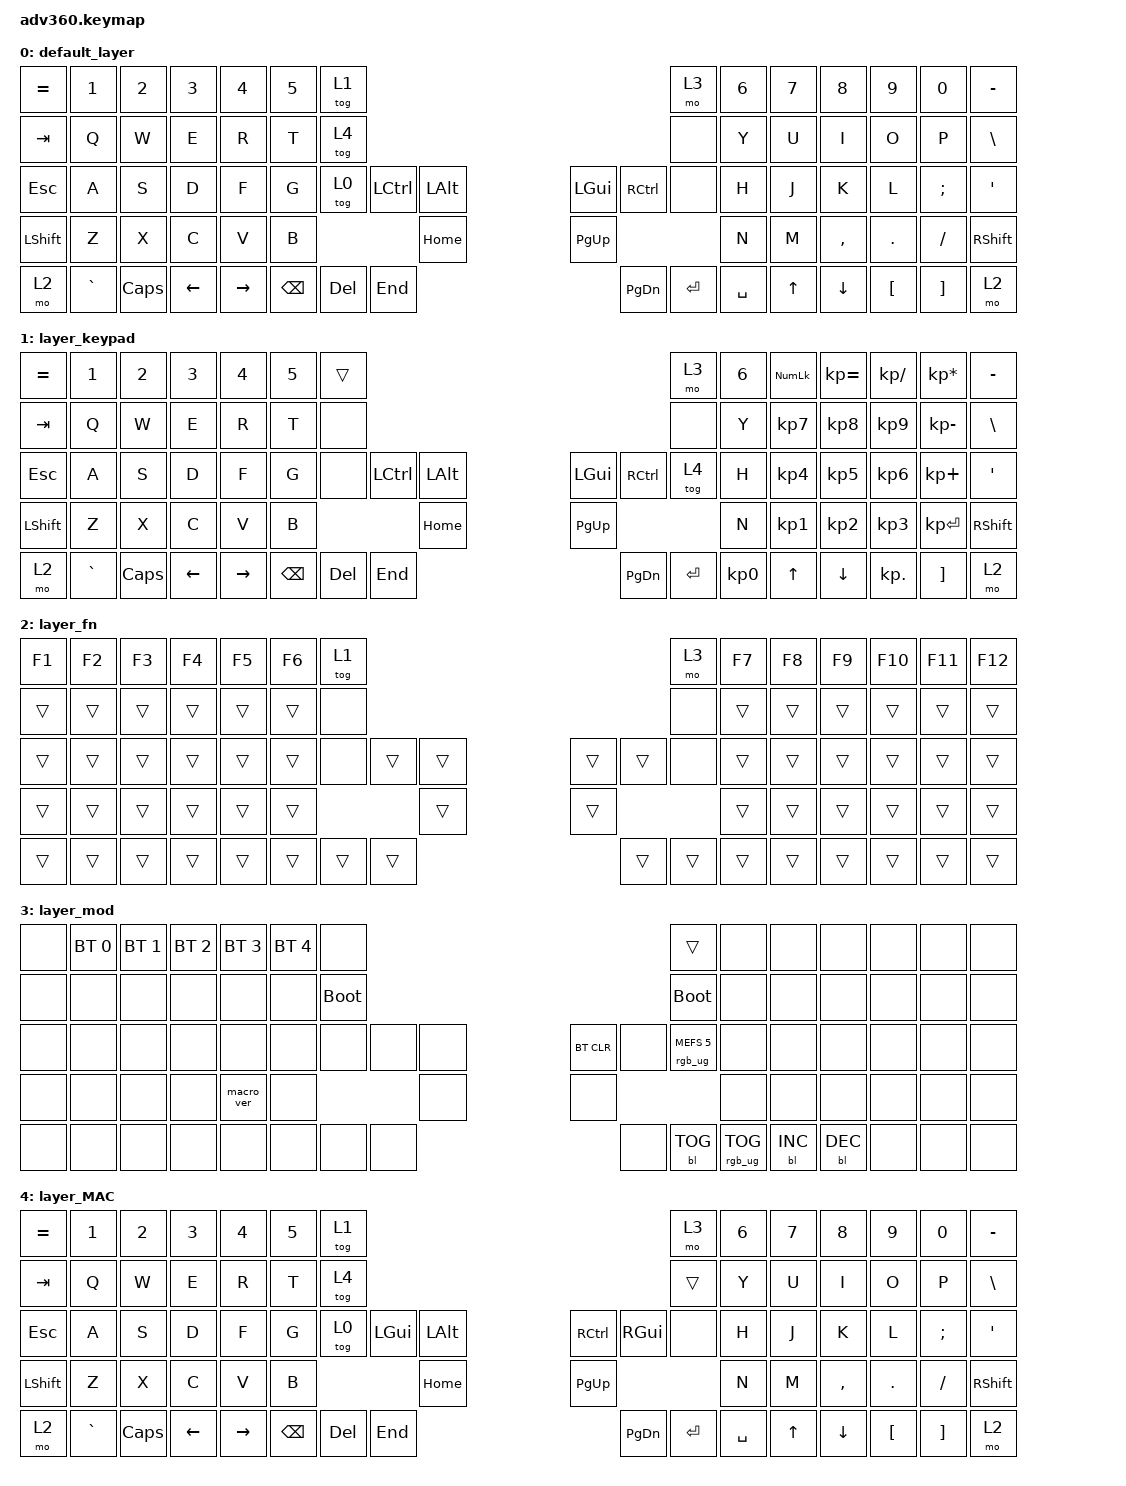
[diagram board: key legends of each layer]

/*
 * Copyright (c) 2020 The ZMK Contributors
 *
 * SPDX-License-Identifier: MIT
 */


/* THIS FILE WAS GENERATED!
 *
 * This file was generated automatically. You may or may not want to
 * edit it directly.
 */

#include <behaviors.dtsi>
#include <dt-bindings/zmk/keys.h>
#include <dt-bindings/zmk/bt.h>
#include <dt-bindings/zmk/rgb.h>
#include <dt-bindings/zmk/backlight.h>

/ {
  behaviors {
    #include "macros.dtsi"
    #include "version.dtsi"

    hm: homerow_mods {
        compatible = "zmk,behavior-hold-tap";
        label = "HOMEROW_MODS";
        #binding-cells = <2>;
        tapping-term-ms = <200>;
        quick_tap_ms = <175>;
        flavor = "tap-preferred";
        bindings = <&kp>, <&kp>;
    };
  };

    keymap {
        compatible = "zmk,keymap";


        default_layer {
            bindings = <
 &kp EQUAL     &kp N1    &kp N2    &kp N3     &kp N4  &kp N5              &tog 1                                                                 &mo 3  &kp N6  &kp N7     &kp N8    &kp N9    &kp N0  &kp MINUS
   &kp TAB      &kp Q     &kp W     &kp E      &kp R   &kp T              &tog 4                                                                 &none   &kp Y   &kp U      &kp I     &kp O     &kp P   &kp BSLH
   &kp ESC      &kp A     &kp S     &kp D      &kp F   &kp G              &tog 0  &kp LCTRL  &kp LALT                   &kp LGUI  &kp RCTRL      &none   &kp H   &kp J      &kp K     &kp L  &kp SEMI    &kp SQT
 &kp LSHFT      &kp Z     &kp X     &kp C      &kp V   &kp B                                 &kp HOME                  &kp PG_UP                         &kp N   &kp M  &kp COMMA   &kp DOT  &kp FSLH  &kp RSHFT
     &mo 2  &kp GRAVE  &kp CAPS  &kp LEFT  &kp RIGHT                    &kp BSPC    &kp DEL   &kp END                  &kp PG_DN  &kp ENTER  &kp SPACE          &kp UP   &kp DOWN  &kp LBKT  &kp RBKT      &mo 2
            >;
        };

        layer_keypad {
            bindings = <
 &kp EQUAL     &kp N1    &kp N2    &kp N3     &kp N4  &kp N5              &trans                                                                 &mo 3  &kp N6  &kp KP_NUM  &kp KP_EQUAL  &kp KP_DIVIDE  &kp KP_MULTIPLY  &kp MINUS
   &kp TAB      &kp Q     &kp W     &kp E      &kp R   &kp T               &none                                                                 &none   &kp Y   &kp KP_N7     &kp KP_N8      &kp KP_N9     &kp KP_MINUS   &kp BSLH
   &kp ESC      &kp A     &kp S     &kp D      &kp F   &kp G               &none  &kp LCTRL  &kp LALT                   &kp LGUI  &kp RCTRL     &tog 4   &kp H   &kp KP_N4     &kp KP_N5      &kp KP_N6      &kp KP_PLUS    &kp SQT
 &kp LSHFT      &kp Z     &kp X     &kp C      &kp V   &kp B                                 &kp HOME                  &kp PG_UP                         &kp N   &kp KP_N1     &kp KP_N2      &kp KP_N3     &kp KP_ENTER  &kp RSHFT
     &mo 2  &kp GRAVE  &kp CAPS  &kp LEFT  &kp RIGHT                    &kp BSPC    &kp DEL   &kp END                  &kp PG_DN  &kp ENTER  &kp KP_N0              &kp UP      &kp DOWN     &kp KP_DOT         &kp RBKT      &mo 2
            >;
        };

        layer_fn {
            bindings = <
 &kp F1  &kp F2  &kp F3  &kp F4  &kp F5  &kp F6            &tog 1                                                   &mo 3  &kp F7  &kp F8  &kp F9  &kp F10  &kp F11  &kp F12
 &trans  &trans  &trans  &trans  &trans  &trans             &none                                                   &none  &trans  &trans  &trans   &trans   &trans   &trans
 &trans  &trans  &trans  &trans  &trans  &trans             &none  &trans  &trans                  &trans  &trans   &none  &trans  &trans  &trans   &trans   &trans   &trans
 &trans  &trans  &trans  &trans  &trans  &trans                            &trans                  &trans                  &trans  &trans  &trans   &trans   &trans   &trans
 &trans  &trans  &trans  &trans  &trans                    &trans  &trans  &trans                  &trans  &trans  &trans          &trans  &trans   &trans   &trans   &trans
            >;
        };

        layer_mod {
            bindings = <
  &none  &bt BT_SEL 0  &bt BT_SEL 1  &bt BT_SEL 2  &bt BT_SEL 3  &bt BT_SEL 4                  &none                                                                          &trans   &none       &none       &none   &none   &none   &none
  &none         &none         &none         &none         &none         &none            &bootloader                                                                     &bootloader   &none       &none       &none   &none   &none   &none
  &none         &none         &none         &none         &none         &none                  &none   &none   &none                  &bt BT_CLR       &none  &rgb_ug RGB_MEFS_CMD 5   &none       &none       &none   &none   &none   &none
  &none         &none         &none         &none    &macro_ver         &none                                  &none                       &none                                       &none       &none       &none   &none   &none   &none
  &none         &none         &none         &none         &none                                &none   &none   &none                       &none  &bl BL_TOG         &rgb_ug RGB_TOG          &bl BL_INC  &bl BL_DEC   &none   &none   &none
            >;
        };

        layer_MAC {
            bindings = <
      &kp EQUAL  &kp NUMBER_1  &kp NUMBER_2    &kp NUMBER_3     &kp NUMBER_4  &kp NUMBER_5              &tog 1                                                                        &mo 3  &kp NUMBER_6  &kp NUMBER_7    &kp NUMBER_8      &kp NUMBER_9       &kp NUMBER_0         &kp MINUS
        &kp TAB         &kp Q         &kp W           &kp E            &kp R         &kp T              &tog 4                                                                       &trans         &kp Y         &kp U           &kp I             &kp O              &kp P     &kp BACKSLASH
        &kp ESC         &kp A         &kp S           &kp D            &kp F         &kp G              &tog 0  &kp LGUI  &kp LALT                  &kp RIGHT_CONTROL   &kp RGUI      &none         &kp H         &kp J           &kp K             &kp L      &kp SEMICOLON  &kp SINGLE_QUOTE
 &kp LEFT_SHIFT         &kp Z         &kp X           &kp C            &kp V         &kp B                                &kp HOME                        &kp PAGE_UP                               &kp N         &kp M       &kp COMMA        &kp PERIOD          &kp SLASH   &kp RIGHT_SHIFT
          &mo 2     &kp GRAVE      &kp CAPS  &kp LEFT_ARROW  &kp RIGHT_ARROW                          &kp BSPC   &kp DEL   &kp END                          &kp PG_DN  &kp ENTER  &kp SPACE                &kp UP_ARROW  &kp DOWN_ARROW  &kp LEFT_BRACKET  &kp RIGHT_BRACKET             &mo 2
            >;
        };

    };
};
